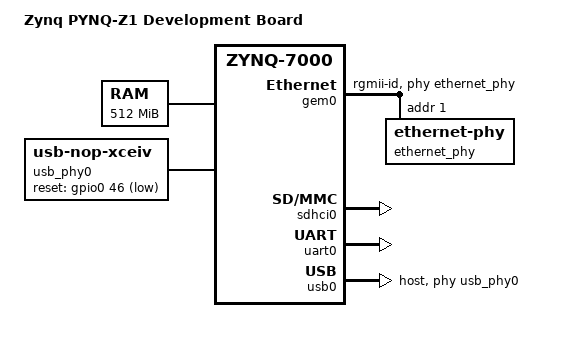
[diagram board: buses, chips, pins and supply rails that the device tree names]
/*
 * Digilent PYNQ-Z1 board DTS
 *
 *  Copyright (C) 2016 Digilent
 *
 * SPDX-License-Identifier:	GPL-2.0+
 */
/dts-v1/;
#include "zynq-7000.dtsi"

/ {
	model = "Zynq PYNQ-Z1 Development Board";
	compatible = "digilent,zynq-pynqz1", "xlnx,zynq-7000";

	aliases {
		ethernet0 = &gem0;
		serial0 = &uart0;
	};

	memory {
		device_type = "memory";
		reg = <0x0 0x20000000>;
	};

	chosen {
		bootargs = "earlycon";
		stdout-path = "serial0:115200n8";
	};

	usb_phy0: phy0 {
		#phy-cells = <0>;
		compatible = "usb-nop-xceiv";
		reset-gpios = <&gpio0 46 1>;
	};
};

&clkc {
	ps-clk-frequency = <50000000>;
	fclk-enable = <0xf>;
};

&gem0 {
	status = "okay";
	phy-mode = "rgmii-id";
	phy-handle = <&ethernet_phy>;

	ethernet_phy: ethernet-phy@0 { /* rtl8211e-vl */
		reg = <1>;
	};
};

&sdhci0 {
	status = "okay";
};

&uart0 {
	status = "okay";
};

&usb0 {
	status = "okay";
	dr_mode = "host";
	usb-phy = <&usb_phy0>;
};
